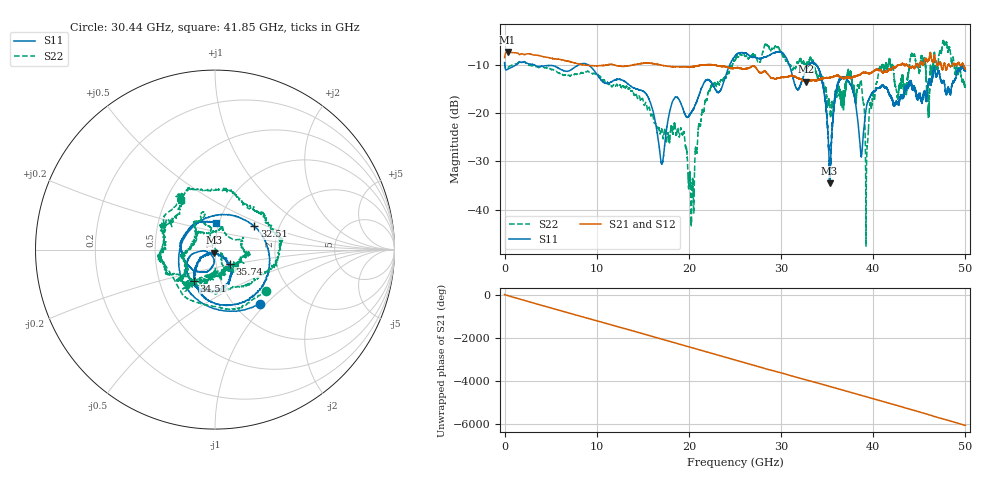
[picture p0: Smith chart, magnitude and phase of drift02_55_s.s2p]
!Created with skrf (http://scikit-rf.org).
# Hz S RI R 50.0
!freq ReS11 ImS11 ReS21 ImS21 ReS12 ImS12 ReS22 ImS22
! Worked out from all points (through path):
!   10001 points, 300 kHz to 50 GHz, reference 50 ohm
!   highest |S21| = -7.31 dB at 325.3 MHz (marker M1); lowest = -13.4 dB at 32.71 GHz (marker M2)
!   group delay of S21, straight-line fit = 335 ps
!   lowest |S11| = -34.5 dB at 35.26 GHz (marker M3), VSWR 1.04, Z = 49.4 - j1.75 ohm
!   |S11| at or under -10 dB: 3.225 GHz to 8.003 GHz (4.778 GHz wide, 85.1 % of centre); 9.105 GHz to 24.42 GHz (15.31 GHz wide, 91.3 % of centre); 33.85 GHz to end of sweep (the widest 3 of 8)
!   |S22| runs from -47.6 to -4.9 dB; largest |S21 - S12| = 0.012
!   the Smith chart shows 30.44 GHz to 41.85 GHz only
!   S11 on the Smith chart (normalised r, x): 30.44 GHz: 1.29, -0.92; 32.51 GHz: 1.49, +0.42; 34.51 GHz: 0.75, -0.27; 35.74 GHz: 1.16, -0.19; 41.85 GHz: 0.97, +0.30
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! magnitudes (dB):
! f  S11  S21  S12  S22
! 300 kHz  -9.5  -8.5  -8.5  -9.5
! 325.3 MHz  -10.9  -7.3  -7.3  -10.6
! 8.335 GHz  -9.7  -9.9  -9.9  -11.6
! 16.67 GHz  -25.5  -9.9  -9.9  -22.9
! 19.31 GHz  -18.9  -10.4  -10.3  -24.5
! 20.37 GHz  -19.5  -10.4  -10.3  -34.4
! 21.94 GHz  -13.1  -10.0  -10.0  -17.1
! 25 GHz  -8.1  -10.6  -10.6  -9.1
! 30.44 GHz  -8.1  -12.5  -12.4  -8.7
! 32.51 GHz  -11.9  -13.2  -13.2  -9.5
! 32.71 GHz  -11.0  -13.4  -13.6  -10.1
! 33.34 GHz  -9.5  -13.1  -13.2  -9.1
! 34.51 GHz  -13.6  -12.7  -12.7  -12.5
! 35.26 GHz  -34.5  -12.6  -12.6  -18.4
! 35.74 GHz  -18.8  -12.4  -12.4  -19.0
! 37.19 GHz  -13.2  -12.7  -12.7  -12.2
! 38.55 GHz  -26.2  -12.0  -12.0  -14.0
! 39.32 GHz  -18.2  -11.6  -11.6  -27.6
! 41.67 GHz  -15.7  -10.9  -11.1  -9.7
! 41.85 GHz  -16.5  -10.9  -10.9  -9.5
! 47.76 GHz  -14.2  -9.7  -9.7  -5.5
! 50 GHz  -11.3  -10.8  -10.8  -14.0
